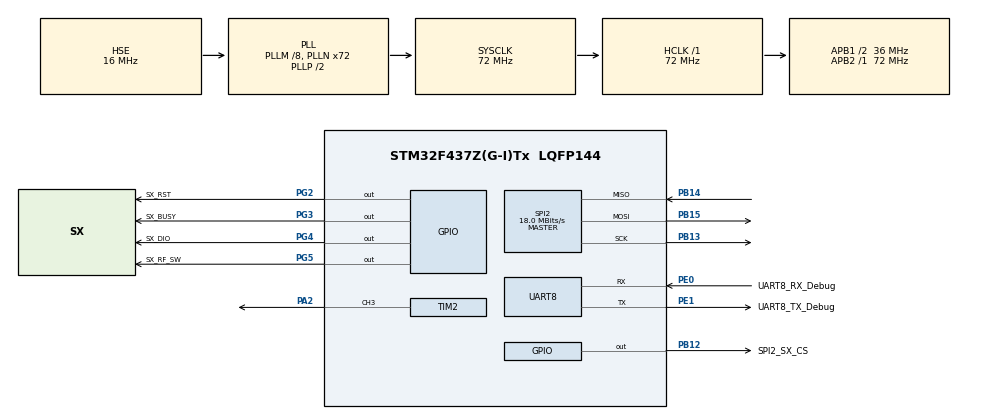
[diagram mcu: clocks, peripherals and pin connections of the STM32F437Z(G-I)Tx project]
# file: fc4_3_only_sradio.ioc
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Mcu.Family=STM32F4
Mcu.Name=STM32F437Z(G-I)Tx
Mcu.Package=LQFP144
NVIC.PriorityGroup=NVIC_PRIORITYGROUP_4
NVIC.TIM2_IRQn=true\:0\:0\:false\:false\:true\:true\:true
PA2.Signal=S_TIM2_CH3
PB12.GPIO_Label=SPI2_SX_CS
PB12.Signal=GPIO_Output
PB13.Mode=Full_Duplex_Master
PB13.Signal=SPI2_SCK
PB14.Mode=Full_Duplex_Master
PB14.Signal=SPI2_MISO
PB15.Mode=Full_Duplex_Master
PB15.Signal=SPI2_MOSI
PC14/OSC32_IN.Mode=LSE-External-Oscillator
PC14/OSC32_IN.Signal=RCC_OSC32_IN
PC15/OSC32_OUT.Mode=LSE-External-Oscillator
PC15/OSC32_OUT.Signal=RCC_OSC32_OUT
PD9.GPIO_Label=USART3_RX_XTend
PD9.Signal=USART3_RX
PE0.GPIO_Label=UART8_RX_Debug
PE0.Mode=Asynchronous
PE0.Signal=UART8_RX
PE1.GPIO_Label=UART8_TX_Debug
PE1.Mode=Asynchronous
PE1.Signal=UART8_TX
PG2.GPIO_Label=SX_RST
PG2.Signal=GPIO_Output
PG3.GPIO_Label=SX_BUSY
PG3.Signal=GPIO_Output
PG4.GPIO_Label=SX_DIO
PG4.Signal=GPIO_Output
PG5.GPIO_Label=SX_RF_SW
PG5.Signal=GPIO_Output
PH0/OSC_IN.Mode=HSE-External-Oscillator
PH0/OSC_IN.Signal=RCC_OSC_IN
PH1/OSC_OUT.Mode=HSE-External-Oscillator
PH1/OSC_OUT.Signal=RCC_OSC_OUT
ProjectManager.HeapSize=0x200
ProjectManager.StackSize=0x400
ProjectManager.TargetToolchain=STM32CubeIDE
RCC.48MHZClocksFreq_Value=36000000
RCC.AHBFreq_Value=72000000
RCC.APB1CLKDivider=RCC_HCLK_DIV2
RCC.APB1Freq_Value=36000000
RCC.APB1TimFreq_Value=72000000
RCC.APB2Freq_Value=72000000
RCC.APB2TimFreq_Value=72000000
RCC.CortexFreq_Value=72000000
RCC.HCLKFreq_Value=72000000
RCC.HSE_VALUE=16000000
RCC.HSI_VALUE=16000000
RCC.PLLM=8
RCC.PLLN=72
RCC.PLLSourceVirtual=RCC_PLLSOURCE_HSE
RCC.SYSCLKFreq_VALUE=72000000
RCC.SYSCLKSource=RCC_SYSCLKSOURCE_PLLCLK
RCC.VCOOutputFreq_Value=144000000
SH.S_TIM2_CH3.0=TIM2_CH3,PWM Generation3 CH3
SPI2.BaudRatePrescaler=SPI_BAUDRATEPRESCALER_2
SPI2.CalculateBaudRate=18.0 MBits/s
SPI2.Direction=SPI_DIRECTION_2LINES
SPI2.Mode=SPI_MODE_MASTER
SPI2.VirtualType=VM_MASTER
TIM2.Channel-PWM\ Generation3\ CH3=TIM_CHANNEL_3
TIM2.Period=1000
TIM2.Prescaler=50
TIM2.Pulse-PWM\ Generation3\ CH3=100
TIM2.TIM_MasterOutputTrigger=TIM_TRGO_UPDATE
UART8.VirtualMode=Asynchronous
VP_TIM2_VS_ClockSourceINT.Mode=Internal
board=custom

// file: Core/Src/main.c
/* USER CODE BEGIN Header */
/**
  ******************************************************************************
  * @file           : main.c
  * @brief          : Main program body
  ******************************************************************************
  * @attention
  *
  * Copyright (c) 2022 STMicroelectronics.
  * All rights reserved.
  *
  * This software is licensed under terms that can be found in the LICENSE file
  * in the root directory of this software component.
  * If no LICENSE file comes with this software, it is provided AS-IS.
  *
  ******************************************************************************
  */
/* USER CODE END Header */
#include "main.h"

/* USER CODE BEGIN Includes */
#include <stdio.h>
#include <string.h>
#include "sx126x.h"
/* USER CODE END Includes */

SPI_HandleTypeDef hspi2;

TIM_HandleTypeDef htim2;

UART_HandleTypeDef huart8;

/* USER CODE BEGIN PV */
uint8_t tx_buffer[10];
uint8_t rx_buffer[110];
/* USER CODE END PV */

void SystemClock_Config(void);
static void MX_GPIO_Init(void);
static void MX_SPI2_Init(void);
static void MX_UART8_Init(void);
static void MX_TIM2_Init(void);
/* USER CODE BEGIN PFP */
void transmitBuffer(char buffer[]);
void transmitStatus(HAL_StatusTypeDef status);
void transmitIRQ(sx126x_irq_mask_t irq);
/* USER CODE END PFP */

int main(void)
{

  /* MCU Configuration--------------------------------------------------------*/

  /* Reset of all peripherals, Initializes the Flash interface and the Systick. */
  HAL_Init();

  /* Configure the system clock */
  SystemClock_Config();

  /* Initialize all configured peripherals */
  MX_GPIO_Init();
  MX_SPI2_Init();
  MX_UART8_Init();
  MX_TIM2_Init();
  /* USER CODE BEGIN 2 */
  set_hspi(hspi2);
  set_NSS_pin(SPI2_SX_CS_GPIO_Port, SPI2_SX_CS_Pin);
  set_BUSY_pin(SX_BUSY_GPIO_Port, SX_BUSY_Pin);
  set_NRESET_pin(SX_RST_GPIO_Port, SX_RST_Pin);
  set_DIO1_pin(SX_DIO_GPIO_Port, SX_DIO_Pin);
  Tx_setup();

  /* USER CODE END 2 */

  /* Infinite loop */
  while (1)
  {

    /* USER CODE BEGIN 3 */
	  sprintf((char *)tx_buffer, "0123456789");
	  TxProtocol(tx_buffer, 10);
	  HAL_Delay(500);
  }
  /* USER CODE END 3 */
}

void SystemClock_Config(void)
{
  RCC_OscInitTypeDef RCC_OscInitStruct = {0};
  RCC_ClkInitTypeDef RCC_ClkInitStruct = {0};

  /** Configure the main internal regulator output voltage
  */
  __HAL_RCC_PWR_CLK_ENABLE();
  __HAL_PWR_VOLTAGESCALING_CONFIG(PWR_REGULATOR_VOLTAGE_SCALE3);
  /** Initializes the RCC Oscillators according to the specified parameters
  * in the RCC_OscInitTypeDef structure.
  */
  RCC_OscInitStruct.OscillatorType = RCC_OSCILLATORTYPE_HSE;
  RCC_OscInitStruct.HSEState = RCC_HSE_ON;
  RCC_OscInitStruct.PLL.PLLState = RCC_PLL_ON;
  RCC_OscInitStruct.PLL.PLLSource = RCC_PLLSOURCE_HSE;
  RCC_OscInitStruct.PLL.PLLM = 8;
  RCC_OscInitStruct.PLL.PLLN = 72;
  RCC_OscInitStruct.PLL.PLLP = RCC_PLLP_DIV2;
  RCC_OscInitStruct.PLL.PLLQ = 4;
  if (HAL_RCC_OscConfig(&RCC_OscInitStruct) != HAL_OK)
  {
    Error_Handler();
  }
  /** Initializes the CPU, AHB and APB buses clocks
  */
  RCC_ClkInitStruct.ClockType = RCC_CLOCKTYPE_HCLK|RCC_CLOCKTYPE_SYSCLK
                              |RCC_CLOCKTYPE_PCLK1|RCC_CLOCKTYPE_PCLK2;
  RCC_ClkInitStruct.SYSCLKSource = RCC_SYSCLKSOURCE_PLLCLK;
  RCC_ClkInitStruct.AHBCLKDivider = RCC_SYSCLK_DIV1;
  RCC_ClkInitStruct.APB1CLKDivider = RCC_HCLK_DIV2;
  RCC_ClkInitStruct.APB2CLKDivider = RCC_HCLK_DIV1;

  if (HAL_RCC_ClockConfig(&RCC_ClkInitStruct, FLASH_LATENCY_2) != HAL_OK)
  {
    Error_Handler();
  }
}

static void MX_SPI2_Init(void)
{

  /* SPI2 parameter configuration*/
  hspi2.Instance = SPI2;
  hspi2.Init.Mode = SPI_MODE_MASTER;
  hspi2.Init.Direction = SPI_DIRECTION_2LINES;
  hspi2.Init.DataSize = SPI_DATASIZE_8BIT;
  hspi2.Init.CLKPolarity = SPI_POLARITY_LOW;
  hspi2.Init.CLKPhase = SPI_PHASE_1EDGE;
  hspi2.Init.NSS = SPI_NSS_SOFT;
  hspi2.Init.BaudRatePrescaler = SPI_BAUDRATEPRESCALER_2;
  hspi2.Init.FirstBit = SPI_FIRSTBIT_MSB;
  hspi2.Init.TIMode = SPI_TIMODE_DISABLE;
  hspi2.Init.CRCCalculation = SPI_CRCCALCULATION_DISABLE;
  hspi2.Init.CRCPolynomial = 10;
  if (HAL_SPI_Init(&hspi2) != HAL_OK)
  {
    Error_Handler();
  }

}

static void MX_TIM2_Init(void)
{

  TIM_ClockConfigTypeDef sClockSourceConfig = {0};
  TIM_MasterConfigTypeDef sMasterConfig = {0};
  TIM_OC_InitTypeDef sConfigOC = {0};

  htim2.Instance = TIM2;
  htim2.Init.Prescaler = 50;
  htim2.Init.CounterMode = TIM_COUNTERMODE_UP;
  htim2.Init.Period = 1000;
  htim2.Init.ClockDivision = TIM_CLOCKDIVISION_DIV1;
  htim2.Init.AutoReloadPreload = TIM_AUTORELOAD_PRELOAD_DISABLE;
  if (HAL_TIM_Base_Init(&htim2) != HAL_OK)
  {
    Error_Handler();
  }
  sClockSourceConfig.ClockSource = TIM_CLOCKSOURCE_INTERNAL;
  if (HAL_TIM_ConfigClockSource(&htim2, &sClockSourceConfig) != HAL_OK)
  {
    Error_Handler();
  }
  if (HAL_TIM_PWM_Init(&htim2) != HAL_OK)
  {
    Error_Handler();
  }
  sMasterConfig.MasterOutputTrigger = TIM_TRGO_UPDATE;
  sMasterConfig.MasterSlaveMode = TIM_MASTERSLAVEMODE_DISABLE;
  if (HAL_TIMEx_MasterConfigSynchronization(&htim2, &sMasterConfig) != HAL_OK)
  {
    Error_Handler();
  }
  sConfigOC.OCMode = TIM_OCMODE_PWM1;
  sConfigOC.Pulse = 100;
  sConfigOC.OCPolarity = TIM_OCPOLARITY_HIGH;
  sConfigOC.OCFastMode = TIM_OCFAST_DISABLE;
  if (HAL_TIM_PWM_ConfigChannel(&htim2, &sConfigOC, TIM_CHANNEL_3) != HAL_OK)
  {
    Error_Handler();
  }
  HAL_TIM_MspPostInit(&htim2);

}

static void MX_UART8_Init(void)
{

  huart8.Instance = UART8;
  huart8.Init.BaudRate = 115200;
  huart8.Init.WordLength = UART_WORDLENGTH_8B;
  huart8.Init.StopBits = UART_STOPBITS_1;
  huart8.Init.Parity = UART_PARITY_NONE;
  huart8.Init.Mode = UART_MODE_TX_RX;
  huart8.Init.HwFlowCtl = UART_HWCONTROL_NONE;
  huart8.Init.OverSampling = UART_OVERSAMPLING_16;
  if (HAL_UART_Init(&huart8) != HAL_OK)
  {
    Error_Handler();
  }

}

static void MX_GPIO_Init(void)
{
  GPIO_InitTypeDef GPIO_InitStruct = {0};

  /* GPIO Ports Clock Enable */
  __HAL_RCC_GPIOC_CLK_ENABLE();
  __HAL_RCC_GPIOH_CLK_ENABLE();
  __HAL_RCC_GPIOA_CLK_ENABLE();
  __HAL_RCC_GPIOB_CLK_ENABLE();
  __HAL_RCC_GPIOD_CLK_ENABLE();
  __HAL_RCC_GPIOG_CLK_ENABLE();
  __HAL_RCC_GPIOE_CLK_ENABLE();

  /*Configure GPIO pin Output Level */
  HAL_GPIO_WritePin(SPI2_SX_CS_GPIO_Port, SPI2_SX_CS_Pin, GPIO_PIN_RESET);

  /*Configure GPIO pin Output Level */
  HAL_GPIO_WritePin(GPIOG, SX_RST_Pin|SX_BUSY_Pin|SX_DIO_Pin|SX_RF_SW_Pin, GPIO_PIN_RESET);

  /*Configure GPIO pin : SPI2_SX_CS_Pin */
  GPIO_InitStruct.Pin = SPI2_SX_CS_Pin;
  GPIO_InitStruct.Mode = GPIO_MODE_OUTPUT_PP;
  GPIO_InitStruct.Pull = GPIO_NOPULL;
  GPIO_InitStruct.Speed = GPIO_SPEED_FREQ_LOW;
  HAL_GPIO_Init(SPI2_SX_CS_GPIO_Port, &GPIO_InitStruct);

  /*Configure GPIO pin : USART3_RX_XTend_Pin */
  GPIO_InitStruct.Pin = USART3_RX_XTend_Pin;
  GPIO_InitStruct.Mode = GPIO_MODE_AF_PP;
  GPIO_InitStruct.Pull = GPIO_NOPULL;
  GPIO_InitStruct.Speed = GPIO_SPEED_FREQ_VERY_HIGH;
  GPIO_InitStruct.Alternate = GPIO_AF7_USART3;
  HAL_GPIO_Init(USART3_RX_XTend_GPIO_Port, &GPIO_InitStruct);

  /*Configure GPIO pins : SX_RST_Pin SX_BUSY_Pin SX_DIO_Pin SX_RF_SW_Pin */
  GPIO_InitStruct.Pin = SX_RST_Pin|SX_BUSY_Pin|SX_DIO_Pin|SX_RF_SW_Pin;
  GPIO_InitStruct.Mode = GPIO_MODE_OUTPUT_PP;
  GPIO_InitStruct.Pull = GPIO_NOPULL;
  GPIO_InitStruct.Speed = GPIO_SPEED_FREQ_LOW;
  HAL_GPIO_Init(GPIOG, &GPIO_InitStruct);

}

/* USER CODE BEGIN 4 */
void transmitBuffer(char buffer[]){
	uint8_t length = 0;
	while(buffer[length] != 0){
		length++;
	}
	HAL_UART_Transmit(&huart8, (uint8_t*)buffer, length, 100);
}

void transmitStatus(HAL_StatusTypeDef status){
	if(status == HAL_OK){
		HAL_UART_Transmit(&huart8, (uint8_t*)"Status: HAL_OK\n", 15, 100);
	} else if(status == HAL_ERROR){
		HAL_UART_Transmit(&huart8, (uint8_t*)"Status: HAL_ERROR\n", 18, 100);
	} else if(status == HAL_BUSY){
		HAL_UART_Transmit(&huart8, (uint8_t*)"Status: HAL_BUSY\n", 17, 100);
	} else if(status == HAL_TIMEOUT){
		HAL_UART_Transmit(&huart8, (uint8_t*)"Status: HAL_TIMEOUT\n", 20, 100);
	} else {
		HAL_UART_Transmit(&huart8, (uint8_t*)"Status: Unknown status Received\n", 32, 100);
	}
}

void transmitIRQ(sx126x_irq_mask_t irq){
	if(irq == SX126X_IRQ_TX_DONE){
		transmitBuffer("Tx Done\n");
	} else {
		transmitBuffer("Big Sad\n");
	}
}
/* USER CODE END 4 */

void Error_Handler(void)
{
  __disable_irq();
  while (1)
  {
  }
}
